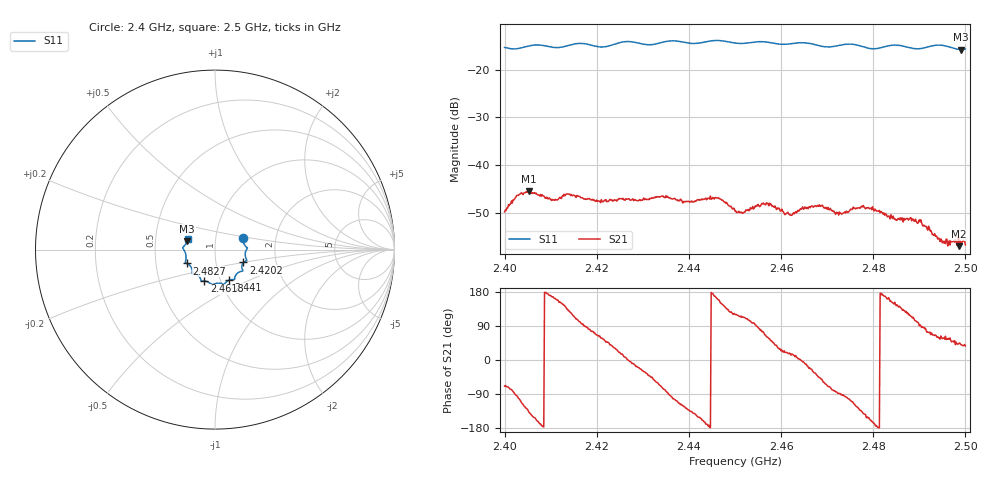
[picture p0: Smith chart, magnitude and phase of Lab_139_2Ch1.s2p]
# Hz S RI R 50
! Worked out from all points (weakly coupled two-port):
!   601 points, 2.4 GHz to 2.5 GHz, reference 50 ohm
!   highest |S21| = -45.48 dB at 2.4053 GHz (marker M1); lowest = -57.0 dB at 2.4987 GHz (marker M2)
!   lowest |S11| = -15.8 dB at 2.499 GHz (marker M3), VSWR 1.39, Z = 36.4 + j3.48 ohm
!   |S11| at or under -10 dB: start of sweep to end of sweep
!   S12 and S22 are empty: the file has one direction only
!   S11 on the Smith chart (normalised r, x): 2.4 GHz: 1.36, +0.18; 2.4202 GHz: 1.36, -0.20; 2.441 GHz: 1.10, -0.39; 2.4618 GHz: 0.84, -0.30; 2.4827 GHz: 0.72, -0.12; 2.5 GHz: 0.73, +0.09
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2.4e9  0.1584 0.0625  0.00116 -0.00303  0 0  0 0
2.403e9  0.1637 0.0279  -0.00092 -0.00472  0 0  0 0
2.405333e9  0.1765 0.0125  -0.004 -0.00351  0 0  0 0
2.410667e9  0.1699 -0.013  -0.00415 0.0012  0 0  0 0
2.416667e9  0.1774 -0.0607  -0.000444 0.00453  0 0  0 0
2.420167e9  0.1583 -0.0714  0.00177 0.00376  0 0  0 0
2.433333e9  0.1116 -0.1508  0.00222 -0.00407  0 0  0 0
2.441e9  0.0786 -0.1698  -0.00318 -0.00259  0 0  0 0
2.446167e9  0.0499 -0.1951  -0.00429 0.00145  0 0  0 0
2.45e9  0.0282 -0.1873  -0.00167 0.00285  0 0  0 0
2.457333e9  -0.021 -0.1914  0.00206 0.00314  0 0  0 0
2.461833e9  -0.0593 -0.1756  0.0029 0.000965  0 0  0 0
2.466667e9  -0.0786 -0.1682  0.0034 -0.00157  0 0  0 0
2.473e9  -0.12 -0.1346  -9.07e-05 -0.00312  0 0  0 0
2.477833e9  -0.1268 -0.117  -0.00295 -0.00236  0 0  0 0
2.482667e9  -0.1561 -0.0774  -0.00302 0.000691  0 0  0 0
2.483333e9  -0.1604 -0.0754  -0.00283 0.000782  0 0  0 0
2.49e9  -0.1633 -0.0237  -1.34e-05 0.00268  0 0  0 0
2.494833e9  -0.1793 0.0117  0.000857 0.0014  0 0  0 0
2.498667e9  -0.1567 0.0421  0.00101 0.001  0 0  0 0
2.499e9  -0.1551 0.0465  0.00119 0.00102  0 0  0 0
2.5e9  -0.1521 0.0606  0.00116 0.000885  0 0  0 0
